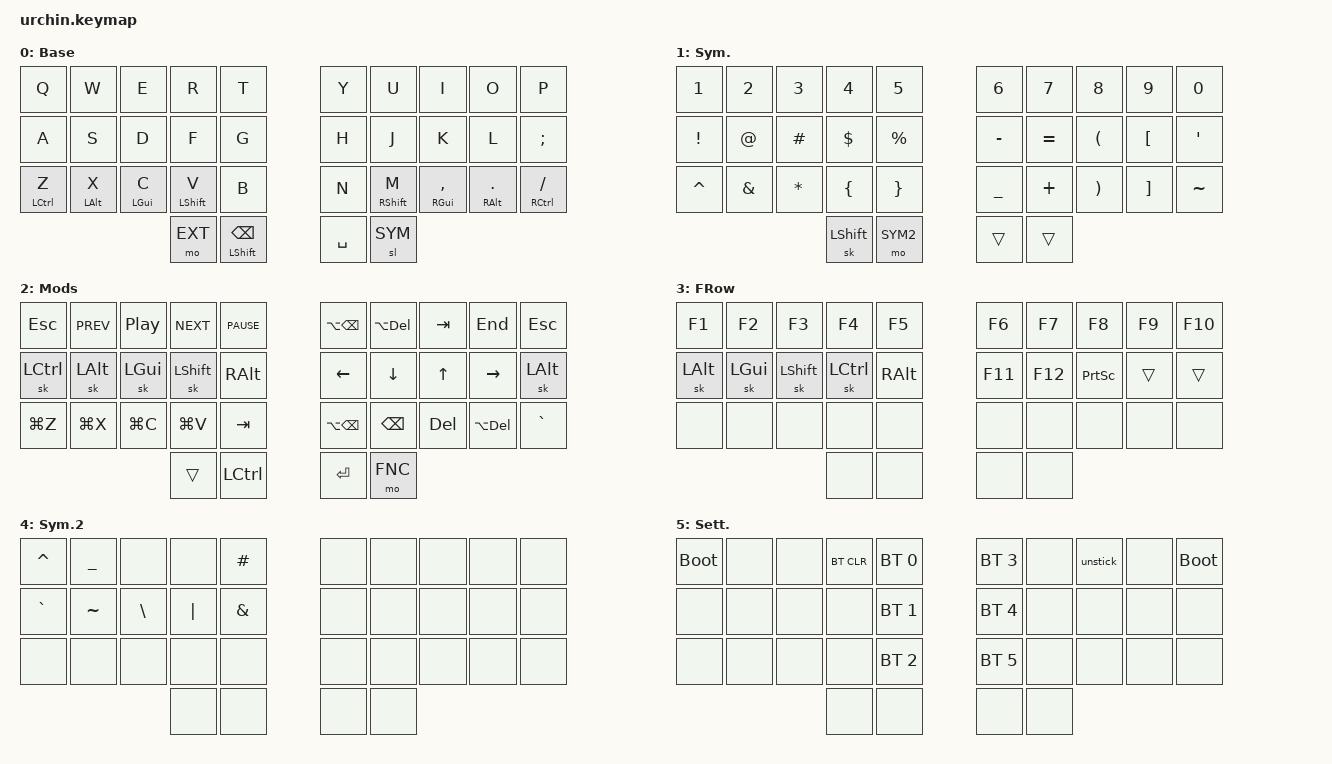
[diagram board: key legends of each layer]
/*
 * Copyright (c) 2020 duckyb
 *
 * SPDX-License-Identifier: MIT
 */

#include <behaviors.dtsi>
#include <dt-bindings/zmk/keys.h>
#include <dt-bindings/zmk/bt.h>
#include <dt-bindings/zmk/outputs.h>
#include "keymap_italian.h"

// Layer definitions
#define BASE 0
#define SYM 1
#define EXT 2
#define FNC 3
#define SYM2 4
#define ACCENT 5
#define SETTINGS 6
// -----------------

&mt {
  flavor = "balanced";
  tapping_term_ms = <200>;
 };

&sk {
	// don't release mods on other mods presses
	ignore-modifiers;
};


/ {
	behaviors {
		// Enables holding the first mod-tap key
		// by performing a tap-release-hold sequence.
		// To use it: "&qt KEYCODE1 KEYCODE2"
		qt: quick_tap {
			compatible = "zmk,behavior-hold-tap";
			label = "QUICK_TAP";
			#binding-cells = <2>;
			flavor = "hold-preferred";
			tapping-term-ms = <200>;
			quick-tap-ms = <200>;
			bindings = <&kp>, <&kp>;
		};
	};

	macros {
		// sometimes my device thinks a modifier is being held down
		// pressing all modifiers fixes it.
		unstick: unstick {
			label = "ZM_unstick";
			compatible = "zmk,behavior-macro";
			#binding-cells = <0>;
			bindings = <&kp LSHIFT &kp RSHIFT &kp LCTRL &kp RCTRL &kp LALT &kp RALT &kp LGUI &kp RGUI>;
		};
	};

	combos {
		compatible = "zmk,combos";
		// both right thumb keys
		combo_accent {
			timeout-ms = <200>;
			key-positions = <32 33>;
			bindings = <&mo ACCENT>;
		};
		// internal-left & external-right thumb keys
		combo_sym2 {
			timeout-ms = <200>;
			key-positions = <31 33>;
			bindings = <&mo SYM2>;
		};
		// both left thumb keys
		combo_settings {
			timeout-ms = <200>;
			key-positions = <30 31>;
			bindings = <&mo SETTINGS>;
		};
		// b and n
		// hold control & space for Adobe workflow
		combo_ctrl_space {
			timeout-ms = <200>;
			key-positions = <23 24>;
			bindings = <&kp LG(SPACE)>;
			layers = <BASE>;
		};
	};

	keymap {
		compatible = "zmk,keymap";
		// Base alpha layer
		default_layer {
			label = "Base";
			bindings = <
			&kp Q &kp W &kp E &kp R &kp T           &kp Y &kp U  &kp I     &kp O   &kp P 
			&kp A &kp S &kp D &kp F &kp G           &kp H &kp J  &kp K     &kp L &kp SEMI
			&mt LCTRL Z &mt LALT X &mt LGUI C &mt LSHIFT V &kp B           &kp N &mt RSHIFT M &mt RGUI COMMA &mt RALT DOT &mt RCTRL FSLH
							&mo EXT &qt LSHIFT BSPC         &kp SPACE &sl SYM
			>;
		};

		// Numbers and high frequency symbols
		sym_layer {
			label = "Sym.";
			bindings = <
			&kp N1 &kp N2 &kp N3 &kp N4 &kp N5            &kp N6 &kp N7 &kp N8 &kp N9 &kp N0
			&kp EXCL &kp AT &kp HASH &kp DLLR &kp PRCNT   &kp  MINUS &kp EQUAL &kp LPAR &kp LBKT &kp SQT  
			&kp CARET &kp AMPS &kp ASTRK &kp LBRC &kp RBRC 	&kp UNDER &kp PLUS &kp RPAR &kp RBKT &kp TILDE
														&sk LSHIFT  &mo SYM2       &trans &trans
			>;
		};

		// Main modifiers and arrow keys
		ext_layer {
			label = "Mods";
			bindings = <
			&kp ESC  &kp C_PREV &kp C_PP  &kp C_NEXT  &kp C_PAUSE   	&kp LA(BSPC)  &kp LA(DEL) &kp TAB &kp END &kp ESC
			&sk LCTRL  &sk LALT  &sk LGUI &sk LSHIFT &kp RALT 			&kp LEFT &kp DOWN  &kp UP  &kp RIGHT &sk LALT
			&kp LG(Z)  &kp LG(X) &kp LG(C) &kp LG(V)   &kp TAB      &kp LA(BSPC) &kp BSPC &kp DEL &kp LA(DEL) &kp GRAVE
																		&trans &kp LCTRL    &kp ENTER  &mo FNC 
			>;
		};

		// Function keys with modifiers
		fnc_layer {
			label = "FRow";
			bindings = <
			&kp F1 &kp F2 &kp F3 &kp F4 &kp F5                  &kp F6 &kp F7 &kp F8 &kp F9 &kp F10 
			&sk LALT &sk LGUI &sk LSHIFT &sk LCTRL &kp RALT     &kp F11 &kp F12  &kp PRINTSCREEN &trans &trans
			&none &none &none &none &none				          &none &none &none &none &none 
							  &none &none              &none &none  
			>;
		};

		// Low frequency symbols.
		symbols_2_layer {
			label = "Sym.2";
			bindings = <
			&kp CARET &kp UNDER &none &none &kp HASH         &none &none &none &none &none 
			&kp GRAVE &kp TILDE &kp BSLH &kp PIPE &kp AMPS         &none &none &none &none &none
			&none 			&none 			 &none &none &none   				  &none &none &none &none &none
																	&none &none        	&none &none 
			>;
		};

		// Used to change the keyboard's settings.
		settings_layer {
				label = "Sett.";
				bindings = <
				&bootloader &none &none &bt BT_CLR &bt BT_SEL 0               &bt BT_SEL 3 &none &unstick &none &bootloader 
				&none &none &none &none      &bt BT_SEL 1 						  &bt BT_SEL 4 &none &none &none &none
				&none &none &none &none      &bt BT_SEL 2               &bt BT_SEL 5 &none &none &none &none
										&none &none                         &none &none 
				>;
		};
	};
};
